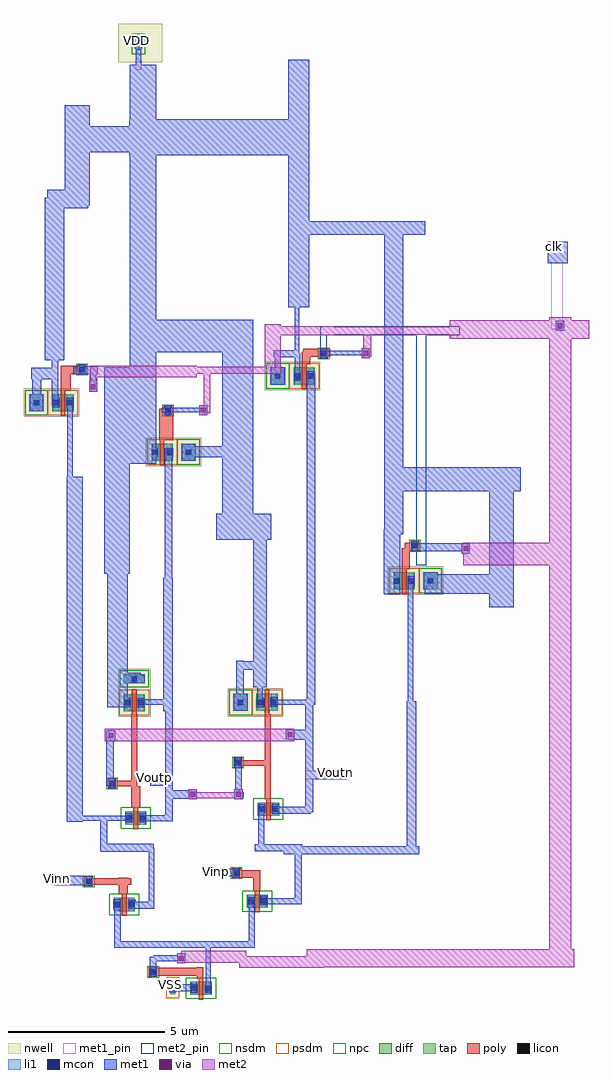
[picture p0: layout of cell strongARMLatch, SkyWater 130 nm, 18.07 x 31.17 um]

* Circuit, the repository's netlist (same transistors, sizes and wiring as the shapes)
************************************************************************
* auCdl Netlist:
* 
* Library Name:  rx_ams_afe
* Top Cell Name: strongARMLatch
* View Name:     schematic
* Netlisted on:  May  4 13:45:00 2025
************************************************************************

*.BIPOLAR
*.RESI = 2000 
*.RESVAL
*.CAPVAL
*.DIOPERI
*.DIOAREA
*.EQUATION
*.SCALE METER
*.MEGA
.PARAM



************************************************************************
* Library Name: rx_ams_afe
* Cell Name:    strongARMLatch
* View Name:    schematic
************************************************************************

.SUBCKT strongARMLatch VDD VSS Vinn Vinp Voutn Voutp clk
*.PININFO Vinn:I Vinp:I clk:I Voutn:O Voutp:O VDD:B VSS:B
MNM4 net1 Vinn net3 VSS nfet_01v8 W=420n L=150n M=1
MNM3 net4 Vinp net3 VSS nfet_01v8 W=420n L=150n M=1
MNM2 Voutn Voutp net4 VSS nfet_01v8 W=420n L=150n M=1
MNM1 net3 clk VSS VSS nfet_01v8 W=420n L=150n M=1
MNM0 Voutp Voutn net1 VSS nfet_01v8 W=420n L=150n M=1
MPM5 net4 clk VDD VDD pfet_01v8 W=550n L=150n M=1
MPM4 Voutn clk VDD VDD pfet_01v8 W=550n L=150n M=1
MPM3 Voutn Voutp VDD VDD pfet_01v8 W=550n L=150n M=1
MPM2 Voutp Voutn VDD VDD pfet_01v8 W=550n L=150n M=1
MPM1 Voutp clk VDD VDD pfet_01v8 W=550n L=150n M=1
MPM0 net1 clk VDD VDD pfet_01v8 W=550n L=150n M=1
.ENDS

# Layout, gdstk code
import gdstk
lib = gdstk.Library(unit=1e-6, precision=1e-09)
def R(c, l, rs):  # rectangles x0, y0, x1, y1
    for r in rs: c.add(gdstk.rectangle(r[:2], r[2:], *l))
nwell = (64, 20)
diff = (65, 20)
tap = (65, 44)
poly = (66, 20)
licon = (66, 44)
li1 = (67, 20)
mcon = (67, 44)
met1_pin = (68, 16)
met1 = (68, 20)
via = (68, 44)
met2_pin = (69, 16)
met2 = (69, 20)
nsdm = (93, 44)
psdm = (94, 20)
npc = (95, 20)

nfet_01v8_cdns_746599214 = lib.new_cell('nfet_01v8_CDNS_746599214893')
R(nfet_01v8_cdns_746599214, diff, [(-0.265,0,0,0.42), (0,0,0.15,0.42), (0.15,0,0.415,0.42)])
R(nfet_01v8_cdns_746599214, poly, [(0,-0.15,0.15,-0.095), (0,-0.095,0.15,0), (0,0,0.15,0.42), (0,0.42,0.15,0.515), (0,0.515,0.15,0.57)])
R(nfet_01v8_cdns_746599214, licon, [(-0.225,0.125,-0.055,0.295), (0.205,0.125,0.375,0.295)])
R(nfet_01v8_cdns_746599214, li1, [(-0.225,0,-0.055,0.42), (0.205,0,0.375,0.42)])
R(nfet_01v8_cdns_746599214, nsdm, [(-0.405,-0.13,0.555,0.55)])

c_nfet_01v8_cdns_746599214 = lib.new_cell('nfet_01v8_CDNS_746599214894')
R(c_nfet_01v8_cdns_746599214, diff, [(-0.265,0,0,0.42), (0,0,0.15,0.42), (0.15,0,0.415,0.42)])
R(c_nfet_01v8_cdns_746599214, poly, [(0,-0.15,0.15,-0.095), (0,-0.095,0.15,0), (0,0,0.15,0.42), (0,0.42,0.15,0.515), (0,0.515,0.15,0.57)])
R(c_nfet_01v8_cdns_746599214, licon, [(-0.225,0.125,-0.055,0.295), (0.205,0.125,0.375,0.295)])
R(c_nfet_01v8_cdns_746599214, li1, [(-0.225,0,-0.055,0.42), (0.205,0,0.375,0.42)])
R(c_nfet_01v8_cdns_746599214, nsdm, [(-0.405,-0.13,0.555,0.55)])

pfet_01v8_cdns_746599214 = lib.new_cell('pfet_01v8_CDNS_746599214895')
R(pfet_01v8_cdns_746599214, nwell, [(-0.445,-0.18,1.33,0.73)])
R(pfet_01v8_cdns_746599214, diff, [(-0.265,0,0,0.55), (0,0,0.15,0.55), (0.15,0,0.415,0.55)])
R(pfet_01v8_cdns_746599214, tap, [(0.685,0,1.15,0.55)])
R(pfet_01v8_cdns_746599214, poly, [(0,-0.15,0.15,-0.095), (0,-0.095,0.15,0), (0,0,0.15,0.55), (0,0.55,0.15,0.645), (0,0.645,0.15,0.7)])
R(pfet_01v8_cdns_746599214, licon, [(-0.225,0.19,-0.055,0.36), (0.205,0.19,0.375,0.36), (0.83,0.19,1,0.36)])
R(pfet_01v8_cdns_746599214, li1, [(-0.225,0,-0.055,0.55), (0.205,0,0.375,0.55), (0.695,0,1.14,0.55)])
R(pfet_01v8_cdns_746599214, mcon, [(0.83,0.19,1,0.36)])
R(pfet_01v8_cdns_746599214, met1, [(0.695,0,1.14,0.55)])
R(pfet_01v8_cdns_746599214, nsdm, [(0.555,-0.13,1.28,0.68)])
R(pfet_01v8_cdns_746599214, psdm, [(-0.405,-0.13,0.555,0.68)])

c_pfet_01v8_cdns_746599214 = lib.new_cell('pfet_01v8_CDNS_746599214896')
R(c_pfet_01v8_cdns_746599214, nwell, [(-1.18,-0.18,0.595,0.73)])
R(c_pfet_01v8_cdns_746599214, diff, [(-0.265,0,0,0.55), (0,0,0.15,0.55), (0.15,0,0.415,0.55)])
R(c_pfet_01v8_cdns_746599214, tap, [(-1,0,-0.535,0.55)])
R(c_pfet_01v8_cdns_746599214, poly, [(0,-0.15,0.15,-0.095), (0,-0.095,0.15,0), (0,0,0.15,0.55), (0,0.55,0.15,0.645), (0,0.645,0.15,0.7)])
R(c_pfet_01v8_cdns_746599214, licon, [(-0.855,0.19,-0.685,0.36), (-0.225,0.19,-0.055,0.36), (0.205,0.19,0.375,0.36)])
R(c_pfet_01v8_cdns_746599214, li1, [(-0.99,0,-0.545,0.55), (-0.225,0,-0.055,0.55), (0.205,0,0.375,0.55)])
R(c_pfet_01v8_cdns_746599214, mcon, [(-0.855,0.19,-0.685,0.36)])
R(c_pfet_01v8_cdns_746599214, met1, [(-0.99,0,-0.545,0.55)])
R(c_pfet_01v8_cdns_746599214, nsdm, [(-1.13,-0.13,-0.405,0.68)])
R(c_pfet_01v8_cdns_746599214, psdm, [(-0.405,-0.13,0.555,0.68)])

c_pfet_01v8_cdns_746599214_ = lib.new_cell('pfet_01v8_CDNS_746599214897')
R(c_pfet_01v8_cdns_746599214_, nwell, [(-0.445,-0.18,0.595,1.36)])
R(c_pfet_01v8_cdns_746599214_, diff, [(-0.265,0,0,0.55), (0,0,0.15,0.55), (0.15,0,0.415,0.55)])
R(c_pfet_01v8_cdns_746599214_, tap, [(-0.265,0.89,0.415,1.18)])
R(c_pfet_01v8_cdns_746599214_, poly, [(0,-0.15,0.15,-0.095), (0,-0.095,0.15,0), (0,0,0.15,0.55), (0,0.55,0.15,0.645), (0,0.645,0.15,0.7)])
R(c_pfet_01v8_cdns_746599214_, licon, [(-0.225,0.19,-0.055,0.36), (0.205,0.19,0.375,0.36), (-0.01,0.95,0.16,1.12)])
R(c_pfet_01v8_cdns_746599214_, li1, [(-0.225,0,-0.055,0.55), (0.205,0,0.375,0.55), (-0.255,0.9,0.405,1.17)])
R(c_pfet_01v8_cdns_746599214_, mcon, [(-0.01,0.95,0.16,1.12)])
R(c_pfet_01v8_cdns_746599214_, met1, [(-0.255,0.9,0.405,1.17)])
R(c_pfet_01v8_cdns_746599214_, nsdm, [(-0.395,0.76,0.545,1.31)])
R(c_pfet_01v8_cdns_746599214_, psdm, [(-0.405,-0.13,0.555,0.68)])

nwelltap_cdns_7465992148 = lib.new_cell('nwellTap_CDNS_746599214890')
R(nwelltap_cdns_7465992148, nwell, [(-0.265,-0.385,0.265,0.385)])
R(nwelltap_cdns_7465992148, tap, [(-0.085,-0.205,0.085,0.205)])
R(nwelltap_cdns_7465992148, licon, [(-0.085,-0.085,0.085,0.085)])
R(nwelltap_cdns_7465992148, li1, [(-0.085,-0.165,0.085,0.165)])
R(nwelltap_cdns_7465992148, mcon, [(-0.085,-0.085,0.085,0.085)])
R(nwelltap_cdns_7465992148, met1, [(-0.115,-0.145,0.115,0.145)])
R(nwelltap_cdns_7465992148, nsdm, [(-0.21,-0.33,0.21,0.33)])

subtap_cdns_746599214891 = lib.new_cell('subTap_CDNS_746599214891')
R(subtap_cdns_746599214891, tap, [(-0.085,-0.205,0.085,0.205)])
R(subtap_cdns_746599214891, licon, [(-0.085,-0.085,0.085,0.085)])
R(subtap_cdns_746599214891, li1, [(-0.085,-0.165,0.085,0.165)])
R(subtap_cdns_746599214891, mcon, [(-0.085,-0.085,0.085,0.085)])
R(subtap_cdns_746599214891, met1, [(-0.115,-0.145,0.115,0.145)])
R(subtap_cdns_746599214891, psdm, [(-0.21,-0.33,0.21,0.33)])

l1m1_c_cdns_746599214890 = lib.new_cell('L1M1_C_CDNS_746599214890')
R(l1m1_c_cdns_746599214890, li1, [(-0.085,-0.165,0.085,0.165)])
R(l1m1_c_cdns_746599214890, mcon, [(-0.085,-0.085,0.085,0.085)])
R(l1m1_c_cdns_746599214890, met1, [(-0.115,-0.145,0.115,0.145)])

polyconn_cdns_7465992148 = lib.new_cell('polyConn_CDNS_746599214892')
R(polyconn_cdns_7465992148, poly, [(-0.135,-0.165,0.135,0.165)])
R(polyconn_cdns_7465992148, licon, [(-0.085,-0.085,0.085,0.085)])
R(polyconn_cdns_7465992148, li1, [(-0.085,-0.165,0.085,0.165)])
R(polyconn_cdns_7465992148, mcon, [(-0.085,-0.085,0.085,0.085)])
R(polyconn_cdns_7465992148, met1, [(-0.115,-0.145,0.115,0.145)])
R(polyconn_cdns_7465992148, npc, [(-0.185,-0.185,0.185,0.185)])

m1m2_c_cdns_746599214891 = lib.new_cell('M1M2_C_CDNS_746599214891')
R(m1m2_c_cdns_746599214891, met1, [(-0.13,-0.16,0.13,0.16)])
R(m1m2_c_cdns_746599214891, via, [(-0.075,-0.075,0.075,0.075)])
R(m1m2_c_cdns_746599214891, met2, [(-0.13,-0.16,0.13,0.16)])

strongarmlatch = lib.new_cell('strongARMLatch')
R(strongarmlatch, nwell, [(2.5,30.205,3.9,31.44)])
R(strongarmlatch, poly, [(5,0.93,5.21,1.305), (3.59,1.03,5.13,1.285), (2.505,3.645,2.79,4.155), (6.81,3.74,7.035,4.385), (1.505,3.93,2.91,4.14), (6.185,4.165,7.03,4.39), (2.91,6.41,3.19,7.085), (7.165,6.67,7.37,9.385), (2.915,7.03,3.1,9.38), (2.28,7.08,3.025,7.255), (6.265,7.74,7.325,7.91), (11.55,14.015,11.8,14.675), (11.64,14.58,11.965,14.86), (3.81,18.13,4.245,19.13), (0.655,19.71,0.975,20.42), (0.66,20.245,1.3,20.515), (8.355,20.555,8.625,20.955), (8.395,20.8,9.265,21.05)])
R(strongarmlatch, met1_pin, [(4.17,0.53,5.01,0.75), (0.445,3.915,1.65,4.225), (5.545,4.205,6.265,4.445), (3.51,7.09,4.23,7.465), (8.46,7.31,9.785,7.58), (16.32,21.68,16.695,23.965), (16.205,23.785,16.85,24.465), (16.205,23.785,16.85,24.465), (3.05,29.97,3.23,30.91)])
R(strongarmlatch, met1, [(4.17,0.53,5.01,0.75), (5.295,0.54,5.45,2.105), (3.5,1.185,3.705,1.64), (3.62,1.485,4.48,1.68), (2.38,1.92,6.845,2.125), (6.655,1.92,6.855,3.49), (2.365,1.925,2.57,3.475), (2.815,3.165,3.635,3.395), (3.46,3.165,3.635,5.115), (7.055,3.305,8.36,3.505), (8.135,3.305,8.36,5.17), (0.445,3.915,1.65,4.225), (5.545,4.205,6.265,4.445), (7.78,4.905,12.1,5.17), (11.7,4.94,12.015,9.795), (2.755,4.985,3.63,5.23), (1.93,4.995,3.605,5.24), (6.845,5,8.365,5.23), (6.97,5.01,7.16,6.425), (1.92,5.015,2.14,6.11), (0.85,5.945,1.365,16.96), (3.185,5.97,4.24,6.15), (3.995,5.97,4.24,9.855), (0.98,5.975,2.925,6.145), (7.39,6.195,8.645,6.43), (8.465,6.245,8.715,9.815), (4.01,6.685,5,6.96), (6.225,6.785,6.43,7.9), (3.51,7.09,4.23,7.465), (2.115,7.095,2.355,8.84), (8.46,7.31,9.785,7.58), (7.915,8.57,8.655,8.88), (3.935,9.48,4.24,13.735), (11.74,9.57,11.915,13.76), (2.14,9.605,2.79,14.295), (6.255,9.63,6.505,11.085), (6.93,9.67,7.1,10.875), (7.375,9.685,8.785,9.845), (3.14,9.69,4.235,9.855), (8.515,9.75,8.78,20.26), (6.8,10.25,7.235,15.54), (2.395,10.365,3.215,10.7), (6.28,10.795,7.115,11.08), (14.34,12.795,15.125,17.235), (10.965,13.21,11.5,15.275), (12.285,13.23,15.06,13.845), (3.975,13.605,4.225,17.88), (2.04,13.86,2.865,20.44), (11.885,14.58,13.655,14.835), (5.615,14.96,7.38,15.785), (5.815,15.07,6.81,21.86), (10.995,15.125,11.6,25.085), (11.015,16.505,15.355,17.275), (0.86,16.805,1.045,19.48), (2.865,17.385,3.705,30.115), (4.62,17.585,6.185,17.935), (3.875,19.03,5.285,19.175), (-0.25,19.215,0.035,20.325), (0.375,19.255,0.575,20.96), (2.065,19.5,3.53,20.465), (1.59,19.925,1.79,20.455), (-0.28,20.075,0.57,20.445), (8.13,20.095,8.3,20.91), (7.49,20.1,7.685,20.985), (1.06,20.24,1.84,20.49), (8.125,20.595,8.28,22.945), (0.14,20.69,0.765,25.87), (7.465,20.775,8.265,21.005), (8.935,20.845,10.435,20.99), (2.875,20.945,6.81,21.975), (7.92,22.38,8.595,30.285), (16.205,23.785,16.85,24.465), (8.05,24.695,12.305,25.12), (0.23,25.535,1.535,26.135), (0.79,25.63,1.59,28.835), (2.84,27.24,8.565,28.375), (0.78,27.33,3.57,28.16), (3.05,29.97,3.23,30.91)])
R(strongarmlatch, met2_pin, [(12.005,14.135,12.335,21.725), (8.95,20.865,9.145,21.75), (9.045,21.485,13.405,21.765)])
R(strongarmlatch, met2, [(6.355,1.29,9.045,1.65), (8.515,1.3,17.06,1.88), (4.505,1.445,6.585,1.82), (16.265,1.455,16.955,22.06), (4.76,6.69,6.495,6.885), (2.06,8.52,8.11,8.92), (13.51,14.145,16.745,14.855), (5.225,19,5.43,20.39), (1.615,19.755,1.82,20.255), (1.6,20.15,4.995,20.505), (3.88,20.255,7.695,20.485), (7.17,20.29,7.675,21.84), (10.315,20.79,10.565,21.66), (13.08,21.37,17.54,21.955), (7.22,21.48,9.38,21.77), (8.99,21.495,13.415,21.75)])
strongarmlatch.add(gdstk.Reference(nfet_01v8_cdns_746599214, (5.06,0.42)))
strongarmlatch.add(gdstk.Reference(nfet_01v8_cdns_746599214, (7.215,6.14)))
strongarmlatch.add(gdstk.Reference(nfet_01v8_cdns_746599214, (2.975,5.855)))
strongarmlatch.add(gdstk.Reference(c_nfet_01v8_cdns_746599214, (2.61,3.095)))
strongarmlatch.add(gdstk.Reference(c_nfet_01v8_cdns_746599214, (6.86,3.2)))
strongarmlatch.add(gdstk.Reference(pfet_01v8_cdns_746599214, (11.55,13.37)))
strongarmlatch.add(gdstk.Reference(pfet_01v8_cdns_746599214, (3.82,17.475)))
strongarmlatch.add(gdstk.Reference(c_pfet_01v8_cdns_746599214, (7.17,9.485)))
strongarmlatch.add(gdstk.Reference(c_pfet_01v8_cdns_746599214, (8.355,19.905)))
strongarmlatch.add(gdstk.Reference(c_pfet_01v8_cdns_746599214, (0.65,19.055)))
strongarmlatch.add(gdstk.Reference(c_pfet_01v8_cdns_746599214_, (2.93,9.475)))
strongarmlatch.add(gdstk.Reference(nwelltap_cdns_7465992148, (3.14,30.785)))
strongarmlatch.add(gdstk.Reference(subtap_cdns_746599214891, (4.235,0.645)))
strongarmlatch.add(gdstk.Reference(l1m1_c_cdns_746599214890, (0.505,19.335)))
strongarmlatch.add(gdstk.Reference(l1m1_c_cdns_746599214890, (11.38,13.625)))
strongarmlatch.add(gdstk.Reference(l1m1_c_cdns_746599214890, (11.855,13.64)))
strongarmlatch.add(gdstk.Reference(l1m1_c_cdns_746599214890, (8.21,20.17)))
strongarmlatch.add(gdstk.Reference(l1m1_c_cdns_746599214890, (8.65,20.185)))
strongarmlatch.add(gdstk.Reference(l1m1_c_cdns_746599214890, (0.95,19.34)))
strongarmlatch.add(gdstk.Reference(l1m1_c_cdns_746599214890, (3.64,17.745)))
strongarmlatch.add(gdstk.Reference(l1m1_c_cdns_746599214890, (4.135,17.735)))
strongarmlatch.add(gdstk.Reference(l1m1_c_cdns_746599214890, (7.035,9.745)))
strongarmlatch.add(gdstk.Reference(l1m1_c_cdns_746599214890, (7.46,9.77)))
strongarmlatch.add(gdstk.Reference(l1m1_c_cdns_746599214890, (3.23,9.75)))
strongarmlatch.add(gdstk.Reference(l1m1_c_cdns_746599214890, (2.78,9.765)))
strongarmlatch.add(gdstk.Reference(l1m1_c_cdns_746599214890, (2.825,6.075)))
strongarmlatch.add(gdstk.Reference(l1m1_c_cdns_746599214890, (3.28,6.07)))
strongarmlatch.add(gdstk.Reference(l1m1_c_cdns_746599214890, (7.505,6.355)))
strongarmlatch.add(gdstk.Reference(l1m1_c_cdns_746599214890, (7.08,6.36)))
strongarmlatch.add(gdstk.Reference(l1m1_c_cdns_746599214890, (7.145,3.44)))
strongarmlatch.add(gdstk.Reference(l1m1_c_cdns_746599214890, (6.74,3.395)))
strongarmlatch.add(gdstk.Reference(l1m1_c_cdns_746599214890, (2.93,3.315)))
strongarmlatch.add(gdstk.Reference(l1m1_c_cdns_746599214890, (2.455,3.305)))
strongarmlatch.add(gdstk.Reference(l1m1_c_cdns_746599214890, (5.37,0.625)))
strongarmlatch.add(gdstk.Reference(l1m1_c_cdns_746599214890, (4.91,0.635)))
strongarmlatch.add(gdstk.Reference(polyconn_cdns_7465992148, (3.61,1.145)))
strongarmlatch.add(gdstk.Reference(polyconn_cdns_7465992148, (11.965,14.76)))
strongarmlatch.add(gdstk.Reference(polyconn_cdns_7465992148, (9.055,20.9)))
strongarmlatch.add(gdstk.Reference(polyconn_cdns_7465992148, (4.085,19.085)))
strongarmlatch.add(gdstk.Reference(polyconn_cdns_7465992148, (1.34,20.395)))
strongarmlatch.add(gdstk.Reference(polyconn_cdns_7465992148, (2.295,7.17)))
strongarmlatch.add(gdstk.Reference(polyconn_cdns_7465992148, (6.315,7.84)))
strongarmlatch.add(gdstk.Reference(polyconn_cdns_7465992148, (1.55,4.045)))
strongarmlatch.add(gdstk.Reference(polyconn_cdns_7465992148, (6.265,4.305)))
strongarmlatch.add(gdstk.Reference(m1m2_c_cdns_746599214891, (13.595,14.67)))
strongarmlatch.add(gdstk.Reference(m1m2_c_cdns_746599214891, (1.69,19.84)))
strongarmlatch.add(gdstk.Reference(m1m2_c_cdns_746599214891, (5.21,19.095)))
strongarmlatch.add(gdstk.Reference(m1m2_c_cdns_746599214891, (10.395,20.91)))
strongarmlatch.add(gdstk.Reference(m1m2_c_cdns_746599214891, (4.505,1.58)))
strongarmlatch.add(gdstk.Reference(m1m2_c_cdns_746599214891, (16.6,21.79)))
strongarmlatch.add(gdstk.Reference(m1m2_c_cdns_746599214891, (6.335,6.825)))
strongarmlatch.add(gdstk.Reference(m1m2_c_cdns_746599214891, (2.265,8.705)))
strongarmlatch.add(gdstk.Reference(m1m2_c_cdns_746599214891, (7.975,8.735)))
strongarmlatch.add(gdstk.Reference(m1m2_c_cdns_746599214891, (4.875,6.825)))
strongarmlatch.add(gdstk.Label('clk', (16.43,24.33), layer=68, texttype=16))
strongarmlatch.add(gdstk.Label('clk', (16.505,24.345), layer=68, texttype=16))
strongarmlatch.add(gdstk.Label('VDD', (3.065,30.905), layer=68, texttype=16))
strongarmlatch.add(gdstk.Label('VSS', (4.175,0.735), layer=68, texttype=16))
strongarmlatch.add(gdstk.Label('Voutp', (3.635,7.35), layer=68, texttype=16))
strongarmlatch.add(gdstk.Label('Voutn', (9.435,7.51), layer=68, texttype=16))
strongarmlatch.add(gdstk.Label('Vinp', (5.63,4.365), layer=68, texttype=16))
strongarmlatch.add(gdstk.Label('Vinn', (0.545,4.15), layer=68, texttype=16))

lib.write_gds('strongARMLatch.gds')
